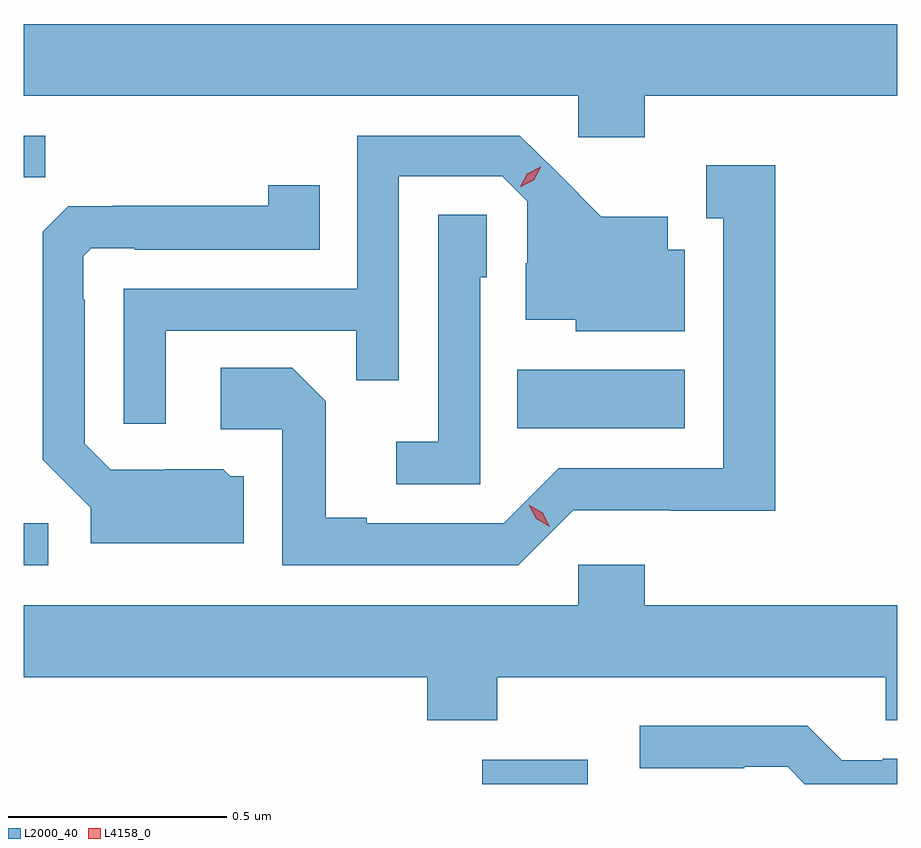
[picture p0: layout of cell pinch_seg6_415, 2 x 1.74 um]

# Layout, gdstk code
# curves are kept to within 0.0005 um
import gdstk
lib = gdstk.Library(unit=1e-6, precision=1e-09)
def R(c, l, rs):  # rectangles x0, y0, x1, y1
    for r in rs: c.add(gdstk.rectangle(r[:2], r[2:], *l))
def P(c, l, *ps):  # polygons
    for p in ps: c.add(gdstk.Polygon(p, *l))
L2000_40 = (2000, 40)
L4158_0 = (4158, 0)

pinch_seg6_415 = lib.new_cell('pinch_seg6_415')
R(pinch_seg6_415, L2000_40, [(665.426,923.115,665.668,923.17), (664.376,923.616,664.432,923.712), (665.506,923.93,665.89,924.064), (664.376,924.505,664.425,924.6)])
P(pinch_seg6_415, L2000_40, [(665.798,924.692),(666.376,924.692),(666.376,924.856),(664.376,924.856),(664.376,924.692),(665.646,924.692),(665.646,924.597),(665.798,924.597)],
  [(664.701,924.153),(665.137,924.153),(665.137,924.04),(665.235,924.04),(665.235,924.507),(665.472,924.507),(665.529,924.45),(665.529,924.308),(665.525,924.308),(665.525,924.179),(665.64,924.179),(665.64,924.152),(665.89,924.152),(665.89,924.339),(665.851,924.339),(665.851,924.415),(665.699,924.415),(665.512,924.6),(665.139,924.6),(665.139,924.249),(664.605,924.249),(664.605,923.94),(664.701,923.94)],
  [(665.634,923.742),(665.856,923.742),(665.856,923.741),(666.097,923.741),(666.097,924.532),(665.939,924.532),(665.939,924.411),(665.978,924.411),(665.978,923.838),(665.601,923.838),(665.475,923.712),(665.161,923.712),(665.161,923.725),(665.067,923.725),(665.067,923.992),(664.991,924.068),(664.827,924.068),(664.827,923.928),(664.968,923.928),(664.968,923.616),(665.508,923.616)],
  [(664.879,923.82),(664.848,923.82),(664.832,923.836),(664.698,923.836),(664.698,923.835),(664.575,923.835),(664.515,923.895),(664.515,924.224),(664.512,924.224),(664.512,924.324),(664.53,924.342),(664.63,924.342),(664.63,924.339),(665.054,924.339),(665.054,924.487),(664.936,924.487),(664.936,924.44),(664.579,924.44),(664.579,924.439),(664.478,924.439),(664.419,924.38),(664.419,923.858),(664.529,923.748),(664.529,923.666),(664.879,923.666)],
  [(665.421,924.276),(665.436,924.276),(665.436,924.419),(665.325,924.419),(665.325,923.899),(665.229,923.899),(665.229,923.802),(665.421,923.802)],
  [(665.46,923.36),(666.35,923.36),(666.35,923.261),(666.376,923.261),(666.376,923.524),(665.798,923.524),(665.798,923.617),(665.646,923.617),(665.646,923.524),(664.376,923.524),(664.376,923.36),(665.3,923.36),(665.3,923.261),(665.46,923.261)],
  [(666.376,923.173),(666.343,923.173),(666.343,923.169),(666.249,923.169),(666.17,923.248),(665.787,923.248),(665.787,923.151),(666.026,923.151),(666.026,923.154),(666.126,923.154),(666.165,923.115),(666.376,923.115)])
P(pinch_seg6_415, L4158_0, [(665.581,923.704),(665.549,923.723),(665.532,923.755),(665.532,923.755),(665.532,923.755),(665.564,923.736),(665.581,923.704),(665.581,923.704)],
  [(665.513,924.483),(665.513,924.483),(665.529,924.513),(665.56,924.529),(665.56,924.529),(665.56,924.528),(665.544,924.498),(665.514,924.483)])

lib.write_gds('pinch_seg6_415.gds')
